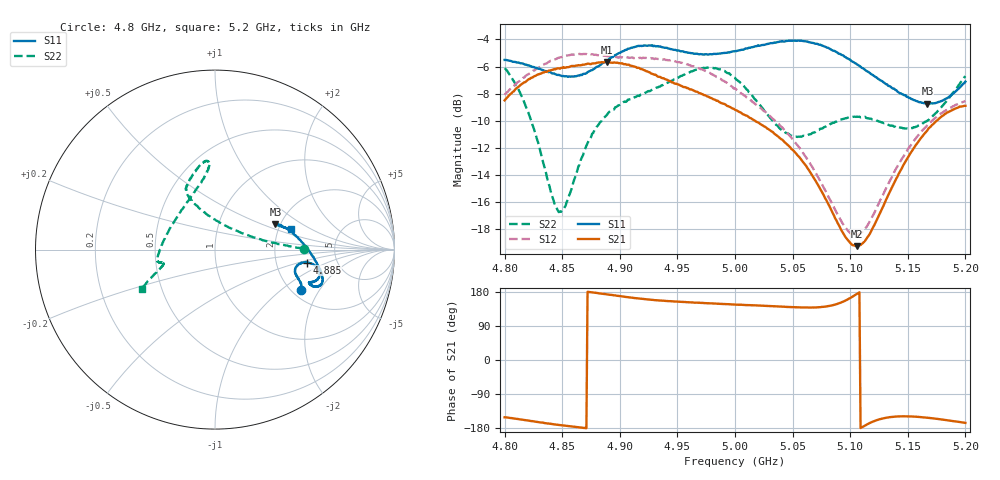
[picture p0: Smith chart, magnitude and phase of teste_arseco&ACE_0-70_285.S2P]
! Network Analyzer HP8722D
! Hewlett-Packard
! Data name: Linha & Wilkinson
! Saver's name: Rodrigo Anjos
! Comments: Teste da utilização de aquisição
! continua pelo VNA HP8722D
! Time and date: 8/5/2025 15:08
!  Frequency  S11  S21  S12  S22
# HZ  S  MA R 50
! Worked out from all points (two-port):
!   401 points, 4.8 GHz to 5.2 GHz, reference 50 ohm
!   highest |S21| = -5.66 dB at 4.889 GHz (marker M1); lowest = -19.3 dB at 5.106 GHz (marker M2)
!   |S21| within 3 dB of the highest: start of sweep to 4.987 GHz
!   lowest |S11| = -8.7 dB at 5.167 GHz (marker M3), VSWR 2.15, Z = 94.2 + j30.9 ohm
!   |S11| at or under -10 dB: nowhere
!   |S22| runs from -16.8 to -6.1 dB; largest |S21 - S12| = 1.1
!   S11 on the Smith chart (normalised r, x): 4.8 GHz: 2.25, -1.40; 4.885 GHz: 3.00, -0.59; 5.2 GHz: 2.36, +0.66
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4.8e9  0.5302 -25.0  0.3757 -151.1  0.3939 8.2  0.4943 0.6
4.82e9  0.5061 -20.6  0.4468 -159.4  0.4679 5.3  0.3442 5.7
4.846e9  0.4664 -16.3  0.4937 -171.0  0.5386 1.1  0.1478 53.8
4.853e9  0.4613 -14.7  0.4965 -173.6  0.549 -0.2  0.1536 80.7
4.867e9  0.466 -10.8  0.5077 -178.6  0.5567 -2.3  0.231 108.8
4.885e9  0.5154 -8.1  0.5197 174.9  0.5497 -3.3  0.3212 115.9
4.889e9  0.5264 -8.1  0.5213 173.2  0.5475 -3.3  0.3329 116.4
4.914e9  0.5939 -12.0  0.4991 163.0  0.5396 -2.5  0.3867 114.0
4.934e9  0.5943 -16.4  0.4591 157.1  0.5351 -3.4  0.4223 108.6
4.974e9  0.5564 -19.4  0.3926 150.1  0.4833 -7.0  0.4943 96.4
5e9  0.5715 -20.2  0.347 146.3  0.4164 -7.0  0.455 94.8
5.018e9  0.5959 -20.1  0.3141 144.2  0.363 -4.1  0.3773 102.5
5.042e9  0.6199 -18.5  0.2664 140.6  0.2947 0.9  0.2893 128.9
5.067e9  0.6138 -13.7  0.1987 138.6  0.2135 8.8  0.2844 164.9
5.094e9  0.5508 -4.3  0.1212 154.3  0.1306 34.3  0.321 -173.2
5.106e9  0.5099 1.2  0.1086 174.6  0.1196 57.3  0.327 -169.1
5.116e9  0.4778 6.3  0.1187 -167.9  0.1318 76.3  0.3224 -167.5
5.134e9  0.4244 14.9  0.1711 -150.9  0.1876 94.5  0.3039 -166.6
5.152e9  0.3834 21.2  0.2385 -148.8  0.2542 99.6  0.2962 -164.9
5.167e9  0.3655 22.9  0.2911 -152.4  0.3044 100.3  0.3162 -161.7
5.183e9  0.381 20.4  0.3357 -158.6  0.3451 100.2  0.3702 -157.5
5.2e9  0.4407 14.7  0.3587 -166.0  0.374 100.7  0.4617 -152.0
